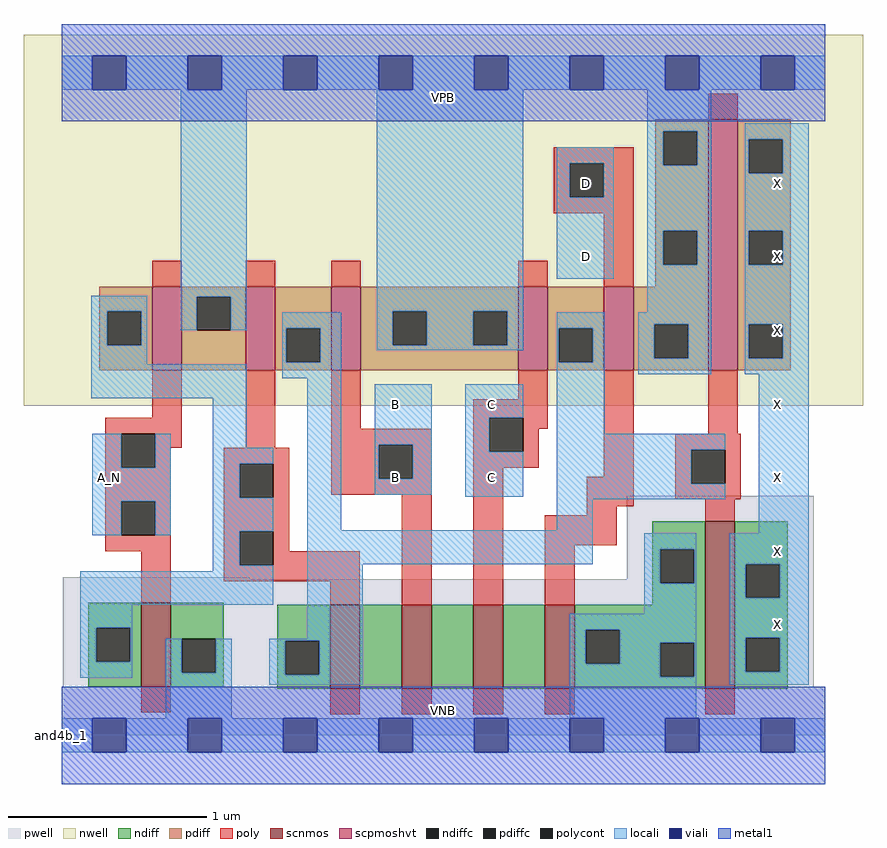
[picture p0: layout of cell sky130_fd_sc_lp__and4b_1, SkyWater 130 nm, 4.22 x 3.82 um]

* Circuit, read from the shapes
.subckt sky130_fd_sc_lp__and4b_1 A_N B C D VGND VNB VPB VPWR X
XM1 VGND A_N n1 VNB sky130_fd_pr__nfet_01v8 w=0.42 l=0.15
XM2 n2 n1 n3 VNB sky130_fd_pr__nfet_01v8 w=0.42 l=0.15
XM3 n4 B n2 VNB sky130_fd_pr__nfet_01v8 w=0.42 l=0.15
XM4 n5 C n4 VNB sky130_fd_pr__nfet_01v8 w=0.42 l=0.15
XM5 VGND D n5 VNB sky130_fd_pr__nfet_01v8 w=0.42 l=0.15
XM6 X n3 VGND VNB sky130_fd_pr__nfet_01v8 w=0.84 l=0.15
XM7 VPWR A_N n1 VPB sky130_fd_pr__pfet_01v8_hvt w=0.42 l=0.15
XM8 n3 n1 VPWR VPB sky130_fd_pr__pfet_01v8_hvt w=0.42 l=0.15
XM9 VPWR B n3 VPB sky130_fd_pr__pfet_01v8_hvt w=0.42 l=0.15
XM10 n3 C VPWR VPB sky130_fd_pr__pfet_01v8_hvt w=0.42 l=0.15
XM11 VPWR D n3 VPB sky130_fd_pr__pfet_01v8_hvt w=0.42 l=0.15
XM12 X n3 VPWR VPB sky130_fd_pr__pfet_01v8_hvt w=1.26 l=0.15
.ends

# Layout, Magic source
magic
tech sky130A
magscale 1 2
<< nwell >>
rect -38 331 806 704
<< pwell >>
rect 1 157 189 159
rect 568 157 756 241
rect 1 49 756 157
rect 0 0 768 49
<< scnmos >>
rect 80 49 110 133
rect 270 47 300 131
rect 342 47 372 131
rect 414 47 444 131
rect 486 47 516 131
rect 647 47 677 215
<< scpmoshvt >>
rect 91 367 121 451
rect 185 367 215 451
rect 271 367 301 451
rect 459 367 489 451
rect 545 367 575 451
rect 650 367 680 619
<< ndiff >>
rect 27 108 80 133
rect 27 74 35 108
rect 69 74 80 108
rect 27 49 80 74
rect 110 97 163 133
rect 594 187 647 215
rect 594 153 602 187
rect 636 153 647 187
rect 594 131 647 153
rect 110 63 121 97
rect 155 63 163 97
rect 110 49 163 63
rect 217 95 270 131
rect 217 61 225 95
rect 259 61 270 95
rect 217 47 270 61
rect 300 47 342 131
rect 372 47 414 131
rect 444 47 486 131
rect 516 106 647 131
rect 516 72 527 106
rect 561 93 647 106
rect 561 72 602 93
rect 516 59 602 72
rect 636 59 647 93
rect 516 47 647 59
rect 677 172 730 215
rect 677 138 688 172
rect 722 138 730 172
rect 677 98 730 138
rect 677 64 688 98
rect 722 64 730 98
rect 677 47 730 64
<< pdiff >>
rect 597 607 650 619
rect 597 573 605 607
rect 639 573 650 607
rect 597 507 650 573
rect 597 473 605 507
rect 639 473 650 507
rect 597 451 650 473
rect 38 426 91 451
rect 38 392 46 426
rect 80 392 91 426
rect 38 367 91 392
rect 121 441 185 451
rect 121 407 136 441
rect 170 407 185 441
rect 121 367 185 407
rect 215 409 271 451
rect 215 375 226 409
rect 260 375 271 409
rect 215 367 271 375
rect 301 426 459 451
rect 301 392 333 426
rect 367 392 414 426
rect 448 392 459 426
rect 301 367 459 392
rect 489 409 545 451
rect 489 375 500 409
rect 534 375 545 409
rect 489 367 545 375
rect 575 413 650 451
rect 575 379 596 413
rect 630 379 650 413
rect 575 367 650 379
rect 680 599 733 619
rect 680 565 691 599
rect 725 565 733 599
rect 680 507 733 565
rect 680 473 691 507
rect 725 473 733 507
rect 680 413 733 473
rect 680 379 691 413
rect 725 379 733 413
rect 680 367 733 379
<< ndiffc >>
rect 35 74 69 108
rect 602 153 636 187
rect 121 63 155 97
rect 225 61 259 95
rect 527 72 561 106
rect 602 59 636 93
rect 688 138 722 172
rect 688 64 722 98
<< pdiffc >>
rect 605 573 639 607
rect 605 473 639 507
rect 46 392 80 426
rect 136 407 170 441
rect 226 375 260 409
rect 333 392 367 426
rect 414 392 448 426
rect 500 375 534 409
rect 596 379 630 413
rect 691 565 725 599
rect 691 473 725 507
rect 691 379 725 413
<< poly >>
rect 650 619 680 645
rect 495 575 575 591
rect 495 541 511 575
rect 545 541 575 575
rect 495 525 575 541
rect 91 451 121 477
rect 185 451 215 477
rect 271 451 301 477
rect 459 451 489 477
rect 545 451 575 525
rect 91 319 121 367
rect 44 303 121 319
rect 44 269 60 303
rect 94 289 121 303
rect 185 289 215 367
rect 271 308 301 367
rect 459 338 489 367
rect 414 319 489 338
rect 271 292 372 308
rect 94 269 110 289
rect 44 235 110 269
rect 44 201 60 235
rect 94 201 110 235
rect 44 185 110 201
rect 80 133 110 185
rect 163 273 229 289
rect 163 239 179 273
rect 213 239 229 273
rect 271 258 319 292
rect 353 258 372 292
rect 271 242 372 258
rect 163 205 229 239
rect 163 171 179 205
rect 213 185 229 205
rect 213 171 300 185
rect 163 155 300 171
rect 270 131 300 155
rect 342 131 372 242
rect 414 285 430 319
rect 464 308 489 319
rect 464 285 480 308
rect 414 269 480 285
rect 414 131 444 269
rect 545 260 575 367
rect 650 303 680 367
rect 528 230 575 260
rect 617 287 683 303
rect 617 253 633 287
rect 667 253 683 287
rect 617 237 683 253
rect 528 221 558 230
rect 486 191 558 221
rect 647 215 677 237
rect 486 131 516 191
rect 80 23 110 49
rect 270 21 300 47
rect 342 21 372 47
rect 414 21 444 47
rect 486 21 516 47
rect 647 21 677 47
<< polycont >>
rect 511 541 545 575
rect 60 269 94 303
rect 60 201 94 235
rect 179 239 213 273
rect 319 258 353 292
rect 179 171 213 205
rect 430 285 464 319
rect 633 253 667 287
<< locali >>
rect 0 649 31 683
rect 65 649 127 683
rect 161 649 223 683
rect 257 649 319 683
rect 353 649 415 683
rect 449 649 511 683
rect 545 649 607 683
rect 641 649 703 683
rect 737 649 768 683
rect 30 426 86 442
rect 30 392 46 426
rect 80 392 86 426
rect 120 441 186 649
rect 120 407 136 441
rect 170 407 186 441
rect 317 426 464 649
rect 589 607 653 649
rect 498 575 555 591
rect 498 541 511 575
rect 545 541 555 575
rect 498 459 555 541
rect 589 573 605 607
rect 639 573 653 607
rect 589 507 653 573
rect 589 473 605 507
rect 639 473 653 507
rect 222 409 281 425
rect 30 373 86 392
rect 222 375 226 409
rect 260 375 281 409
rect 317 392 333 426
rect 367 392 414 426
rect 448 392 464 426
rect 589 425 653 473
rect 317 387 464 392
rect 498 409 546 425
rect 30 339 186 373
rect 222 359 281 375
rect 31 269 60 303
rect 94 269 110 303
rect 31 235 110 269
rect 31 201 60 235
rect 94 201 110 235
rect 152 289 186 339
rect 152 273 213 289
rect 152 239 179 273
rect 152 205 213 239
rect 152 171 179 205
rect 152 165 213 171
rect 19 131 213 165
rect 247 206 281 359
rect 498 375 500 409
rect 534 375 546 409
rect 315 292 372 353
rect 315 258 319 292
rect 353 258 372 292
rect 315 242 372 258
rect 406 319 464 353
rect 406 285 430 319
rect 406 240 464 285
rect 498 303 546 375
rect 580 413 653 425
rect 580 379 596 413
rect 630 379 653 413
rect 580 363 653 379
rect 687 599 751 615
rect 687 565 691 599
rect 725 565 751 599
rect 687 507 751 565
rect 687 473 691 507
rect 725 473 751 507
rect 687 413 751 473
rect 687 379 691 413
rect 725 379 751 413
rect 687 363 751 379
rect 498 287 667 303
rect 498 253 633 287
rect 498 237 667 253
rect 498 206 534 237
rect 247 172 534 206
rect 701 203 751 363
rect 586 187 638 203
rect 19 108 71 131
rect 19 74 35 108
rect 69 74 71 108
rect 247 97 303 172
rect 586 153 602 187
rect 636 153 638 187
rect 586 122 638 153
rect 19 58 71 74
rect 105 63 121 97
rect 155 63 171 97
rect 105 17 171 63
rect 209 95 303 97
rect 209 61 225 95
rect 259 61 303 95
rect 209 51 303 61
rect 511 106 638 122
rect 511 72 527 106
rect 561 93 638 106
rect 561 72 602 93
rect 511 59 602 72
rect 636 59 638 93
rect 511 17 638 59
rect 672 172 751 203
rect 672 138 688 172
rect 722 138 751 172
rect 672 98 751 138
rect 672 64 688 98
rect 722 64 751 98
rect 672 51 751 64
rect 0 -17 31 17
rect 65 -17 127 17
rect 161 -17 223 17
rect 257 -17 319 17
rect 353 -17 415 17
rect 449 -17 511 17
rect 545 -17 607 17
rect 641 -17 703 17
rect 737 -17 768 17
<< viali >>
rect 31 649 65 683
rect 127 649 161 683
rect 223 649 257 683
rect 319 649 353 683
rect 415 649 449 683
rect 511 649 545 683
rect 607 649 641 683
rect 703 649 737 683
rect 31 -17 65 17
rect 127 -17 161 17
rect 223 -17 257 17
rect 319 -17 353 17
rect 415 -17 449 17
rect 511 -17 545 17
rect 607 -17 641 17
rect 703 -17 737 17
<< metal1 >>
rect 0 683 768 715
rect 0 649 31 683
rect 65 649 127 683
rect 161 649 223 683
rect 257 649 319 683
rect 353 649 415 683
rect 449 649 511 683
rect 545 649 607 683
rect 641 649 703 683
rect 737 649 768 683
rect 0 617 768 649
rect 0 17 768 49
rect 0 -17 31 17
rect 65 -17 127 17
rect 161 -17 223 17
rect 257 -17 319 17
rect 353 -17 415 17
rect 449 -17 511 17
rect 545 -17 607 17
rect 641 -17 703 17
rect 737 -17 768 17
rect 0 -49 768 -17
<< labels >>
flabel pwell s 0 0 768 49 0 FreeSans 200 0 0 0 VNB
port 6 nsew ground bidirectional
flabel nwell s 0 617 768 666 0 FreeSans 200 0 0 0 VPB
port 7 nsew power bidirectional
rlabel comment s 0 0 0 0 4 and4b_1
flabel metal1 s 0 617 768 666 0 FreeSans 340 0 0 0 VPWR
port 8 nsew power bidirectional
flabel metal1 s 0 0 768 49 0 FreeSans 340 0 0 0 VGND
port 5 nsew ground bidirectional
flabel locali s 319 242 353 276 0 FreeSans 340 0 0 0 B
port 2 nsew signal input
flabel locali s 319 316 353 350 0 FreeSans 340 0 0 0 B
port 2 nsew signal input
flabel locali s 31 242 65 276 0 FreeSans 340 0 0 0 A_N
port 1 nsew signal input
flabel locali s 703 94 737 128 0 FreeSans 340 0 0 0 X
port 9 nsew signal output
flabel locali s 415 242 449 276 0 FreeSans 340 0 0 0 C
port 3 nsew signal input
flabel locali s 415 316 449 350 0 FreeSans 340 0 0 0 C
port 3 nsew signal input
flabel locali s 511 464 545 498 0 FreeSans 340 0 0 0 D
port 4 nsew signal input
flabel locali s 511 538 545 572 0 FreeSans 340 0 0 0 D
port 4 nsew signal input
flabel locali s 703 538 737 572 0 FreeSans 340 0 0 0 X
port 9 nsew signal output
flabel locali s 703 464 737 498 0 FreeSans 340 0 0 0 X
port 9 nsew signal output
flabel locali s 703 390 737 424 0 FreeSans 340 0 0 0 X
port 9 nsew signal output
flabel locali s 703 316 737 350 0 FreeSans 340 0 0 0 X
port 9 nsew signal output
flabel locali s 703 242 737 276 0 FreeSans 340 0 0 0 X
port 9 nsew signal output
flabel locali s 703 168 737 202 0 FreeSans 340 0 0 0 X
port 9 nsew signal output
<< properties >>
string LEFsite unit
string LEFclass CORE
string FIXED_BBOX 0 0 768 666
string GDS_FILE $PDKPATH/libs.ref/sky130_fd_sc_lp/gds/sky130_fd_sc_lp.gds
string LEFsymmetry X Y R90
string GDS_END 5345766
string GDS_START 5337810
<< end >>
